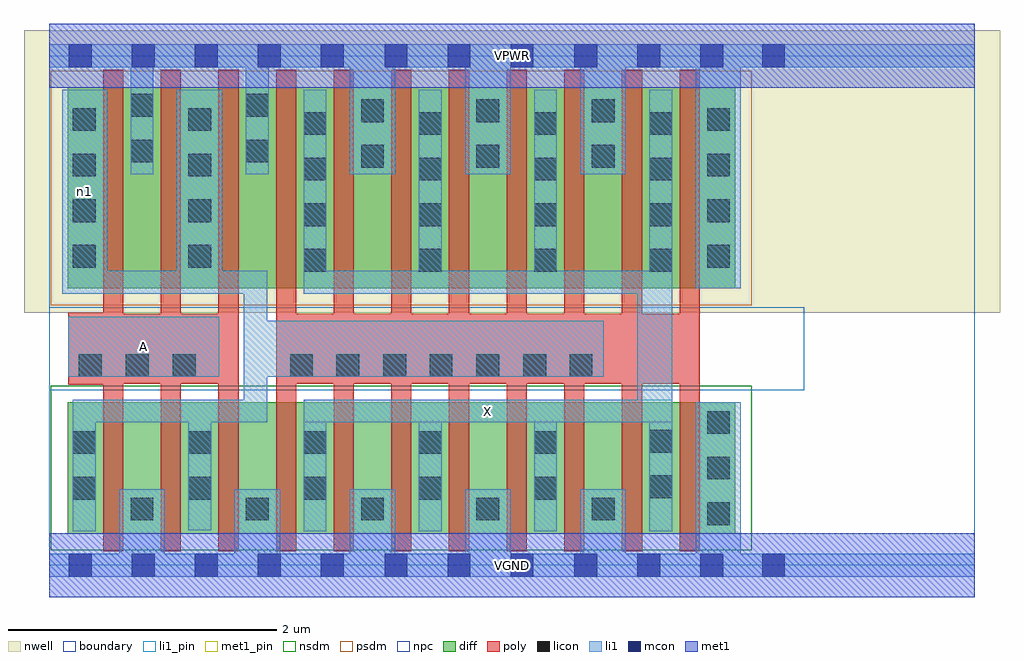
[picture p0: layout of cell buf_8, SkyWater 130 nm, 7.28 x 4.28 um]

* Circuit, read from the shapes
.subckt buf_8 A VGND VPWR X n1
XM1 VGND A n1 VSUBS sky130_fd_pr__nfet_01v8 w=0.98 l=0.15 m=3
XM2 X n1 VGND VSUBS sky130_fd_pr__nfet_01v8 w=0.98 l=0.15 m=8
XM3 VPWR A n1 n2 sky130_fd_pr__pfet_01v8 w=1.5 l=0.15 m=3
XM4 X n1 VPWR n2 sky130_fd_pr__pfet_01v8 w=1.5 l=0.15 m=8
.ends

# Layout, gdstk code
import gdstk
lib = gdstk.Library(unit=1e-6, precision=1e-09)
def R(c, l, rs):  # rectangles x0, y0, x1, y1
    for r in rs: c.add(gdstk.rectangle(r[:2], r[2:], *l))
def A(c, l, x, y, w, h, nx, ny, dx, dy):  # array of equal rectangles
    R(c, l, [(x+i*dx, y+j*dy, x+i*dx+w, y+j*dy+h) for i in range(nx) for j in range(ny)])
nwell = (64, 20)
diff = (65, 20)
poly = (66, 20)
licon = (66, 44)
li1_pin = (67, 16)
li1 = (67, 20)
mcon = (67, 44)
met1_pin = (68, 16)
met1 = (68, 20)
nsdm = (93, 44)
psdm = (94, 20)
npc = (95, 20)
boundary = (235, 4)

buf_8 = lib.new_cell('buf_8')
R(buf_8, nwell, [(-0.19,1.885,7.09,3.99), (0,1.885,6.9,3.99)])
R(buf_8, diff, [(0.135,0.235,5.115,1.215), (0.135,2.065,5.115,3.565)])
A(buf_8, poly, 0.4, 0.105, 0.15, 3.59, 11, 1, 0.43, 0)
R(buf_8, poly, [(0.14,1.345,0.55,1.885), (0.14,1.355,1.41,1.875), (1.69,1.355,4.85,1.875)])
A(buf_8, licon, 4.905, 0.3, 0.17, 0.17, 1, 3, 0, 0.34)
A(buf_8, licon, 0.605, 0.335, 0.17, 0.17, 5, 1, 0.86, 0)
A(buf_8, licon, 0.175, 0.49, 0.17, 0.17, 5, 2, 0.86, 0.34)
A(buf_8, licon, 0.22, 1.405, 0.17, 0.17, 3, 1, 0.35, 0)
A(buf_8, licon, 2.835, 1.405, 0.17, 0.17, 3, 1, 0.35, 0)
A(buf_8, licon, 1.895, 2.19, 0.17, 0.17, 4, 4, 0.86, 0.34)
A(buf_8, licon, 0.175, 2.22, 0.17, 0.17, 1, 4, 0, 0.34)
A(buf_8, licon, 1.035, 2.22, 0.17, 0.17, 1, 4, 0, 0.34)
A(buf_8, licon, 4.905, 2.22, 0.17, 0.17, 1, 4, 0, 0.34)
A(buf_8, licon, 2.325, 2.965, 0.17, 0.17, 3, 2, 0.86, 0.34)
R(buf_8, licon, [(4.475,0.5,4.645,0.67), (4.475,0.84,4.645,1.01), (1.795,1.405,1.965,1.575), (2.14,1.405,2.31,1.575), (2.49,1.405,2.66,1.575), (3.88,1.405,4.05,1.575), (0.605,3.005,0.775,3.175), (1.465,3.005,1.635,3.175), (0.605,3.345,0.775,3.515), (1.465,3.345,1.635,3.515)])
R(buf_8, li1_pin, [(1.895,1.065,4.645,1.235), (0.14,1.405,1.265,1.855)])
A(buf_8, li1, 0.52, -0.085, 0.34, 0.65, 5, 1, 0.86, 0)
A(buf_8, li1, 1.895, 0.255, 0.17, 0.98, 3, 1, 0.86, 0)
A(buf_8, li1, 1.895, 2.025, 0.17, 1.52, 3, 1, 0.86, 0)
A(buf_8, li1, 2.24, 2.915, 0.34, 0.97, 3, 1, 0.86, 0)
R(buf_8, li1, [(0,-0.085,6.9,0.085), (4.82,-0.085,5.155,1.215), (0.175,0.255,0.345,1.235), (4.475,0.255,4.645,3.545), (1.035,0.26,1.205,1.235), (0.175,1.065,1.625,1.235), (1.45,1.065,1.625,2.195), (1.895,1.065,4.645,1.235), (4.385,1.065,4.645,2.195), (0.14,1.405,1.265,1.855), (1.45,1.405,4.135,1.825), (0.095,2.025,0.43,3.545), (0.095,2.025,1.625,2.195), (0.95,2.025,1.29,3.545), (1.895,2.025,4.645,2.195), (4.82,2.065,5.155,3.885), (0.605,2.915,0.775,3.885), (1.465,2.915,1.635,3.885), (0,3.715,6.9,3.885)])
A(buf_8, mcon, 0.145, -0.085, 0.17, 0.17, 5, 2, 0.47, 3.8)
A(buf_8, mcon, 2.5, -0.085, 0.17, 0.17, 3, 2, 0.47, 3.8)
A(buf_8, mcon, 3.915, -0.085, 0.17, 0.17, 3, 2, 0.47, 3.8)
R(buf_8, mcon, [(5.315,-0.085,5.485,0.085), (5.315,3.715,5.485,3.885)])
R(buf_8, met1_pin, [(0,-0.24,6.9,0.24), (0,3.56,6.9,4.04)])
R(buf_8, met1, [(0,-0.24,6.9,0.24), (0,3.56,6.9,4.04)])
R(buf_8, nsdm, [(0.01,0.11,5.24,1.34)])
R(buf_8, psdm, [(0.01,1.94,5.24,3.69)])
R(buf_8, npc, [(0,1.305,5.63,1.925)])
R(buf_8, boundary, [(0,0,6.9,3.8)])
buf_8.add(gdstk.Label('A', (0.702,1.63), layer=67, texttype=5))
buf_8.add(gdstk.Label('X', (3.27,1.15), layer=67, texttype=5))
buf_8.add(gdstk.Label('n1', (0.262,2.785), layer=67, texttype=5))
buf_8.add(gdstk.Label('VPWR', (3.45,3.8), layer=68, texttype=5))
buf_8.add(gdstk.Label('VGND', (3.45,0), layer=68, texttype=5))
buf_8.add(gdstk.Label('A', (0.702,1.63), layer=67, texttype=16))
buf_8.add(gdstk.Label('X', (3.27,1.15), layer=67, texttype=16))
buf_8.add(gdstk.Label('VPWR', (3.45,3.8), layer=68, texttype=16))
buf_8.add(gdstk.Label('VGND', (3.45,0), layer=68, texttype=16))

lib.write_gds('buf_8.gds')
